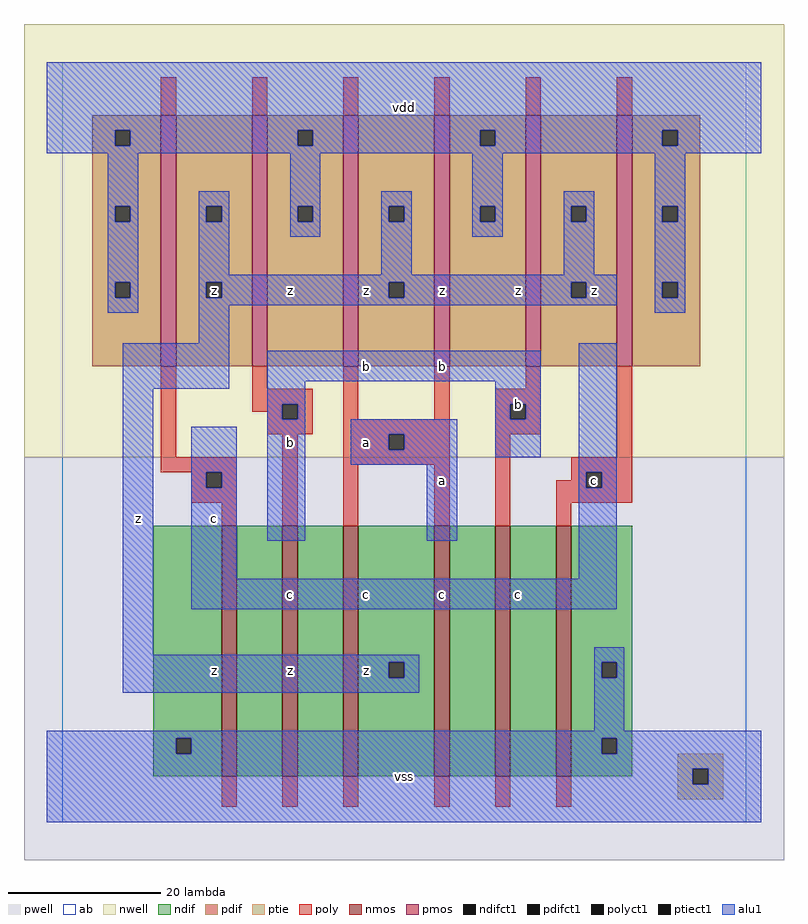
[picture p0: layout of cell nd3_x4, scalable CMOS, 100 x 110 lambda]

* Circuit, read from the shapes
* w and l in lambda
.subckt nd3_x4 a b c vdd vss z
M1 n1 c vss vss nfet w=33 l=2
M2 n2 b n1 vss nfet w=33 l=2
M3 z a n2 vss nfet w=33 l=2
M4 n3 a z vss nfet w=33 l=2
M5 n4 b n3 vss nfet w=33 l=2
M6 vss c n4 vss nfet w=33 l=2
M7 z c vdd n5 pfet w=33 l=2 m=2
M8 vdd b z n5 pfet w=33 l=2 m=2
M9 z a vdd n5 pfet w=33 l=2 m=2
.ends

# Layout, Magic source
magic
tech scmos
<< ab >>
rect 0 0 90 100
<< nwell >>
rect -5 48 95 105
<< pwell >>
rect -5 -5 95 48
<< poly >>
rect 13 93 15 98
rect 25 93 27 98
rect 37 93 39 98
rect 49 93 51 98
rect 61 93 63 98
rect 73 93 75 98
rect 13 48 15 60
rect 25 57 27 60
rect 25 55 33 57
rect 25 54 29 55
rect 27 53 29 54
rect 31 53 33 55
rect 27 51 33 53
rect 37 53 39 60
rect 49 53 51 60
rect 61 57 63 60
rect 37 51 51 53
rect 13 46 23 48
rect 17 44 19 46
rect 21 44 23 46
rect 17 42 23 44
rect 21 39 23 42
rect 29 39 31 51
rect 37 49 43 51
rect 45 49 51 51
rect 37 47 51 49
rect 37 39 39 47
rect 49 39 51 47
rect 57 55 63 57
rect 57 53 59 55
rect 61 53 63 55
rect 57 51 63 53
rect 57 39 59 51
rect 73 48 75 60
rect 67 46 75 48
rect 67 45 69 46
rect 65 44 69 45
rect 71 44 75 46
rect 65 42 75 44
rect 65 39 67 42
rect 21 2 23 6
rect 29 2 31 6
rect 37 2 39 6
rect 49 2 51 6
rect 57 2 59 6
rect 65 2 67 6
<< ndif >>
rect 12 11 21 39
rect 12 9 15 11
rect 17 9 21 11
rect 12 6 21 9
rect 23 6 29 39
rect 31 6 37 39
rect 39 21 49 39
rect 39 19 43 21
rect 45 19 49 21
rect 39 6 49 19
rect 51 6 57 39
rect 59 6 65 39
rect 67 21 75 39
rect 67 19 71 21
rect 73 19 75 21
rect 67 11 75 19
rect 67 9 71 11
rect 73 9 75 11
rect 67 6 75 9
<< pdif >>
rect 4 91 13 93
rect 4 89 7 91
rect 9 89 13 91
rect 4 81 13 89
rect 4 79 7 81
rect 9 79 13 81
rect 4 71 13 79
rect 4 69 7 71
rect 9 69 13 71
rect 4 60 13 69
rect 15 81 25 93
rect 15 79 19 81
rect 21 79 25 81
rect 15 71 25 79
rect 15 69 19 71
rect 21 69 25 71
rect 15 60 25 69
rect 27 91 37 93
rect 27 89 31 91
rect 33 89 37 91
rect 27 81 37 89
rect 27 79 31 81
rect 33 79 37 81
rect 27 60 37 79
rect 39 81 49 93
rect 39 79 43 81
rect 45 79 49 81
rect 39 71 49 79
rect 39 69 43 71
rect 45 69 49 71
rect 39 60 49 69
rect 51 91 61 93
rect 51 89 55 91
rect 57 89 61 91
rect 51 81 61 89
rect 51 79 55 81
rect 57 79 61 81
rect 51 60 61 79
rect 63 81 73 93
rect 63 79 67 81
rect 69 79 73 81
rect 63 71 73 79
rect 63 69 67 71
rect 69 69 73 71
rect 63 60 73 69
rect 75 91 84 93
rect 75 89 79 91
rect 81 89 84 91
rect 75 81 84 89
rect 75 79 79 81
rect 81 79 84 81
rect 75 71 84 79
rect 75 69 79 71
rect 81 69 84 71
rect 75 60 84 69
<< alu1 >>
rect -2 91 92 100
rect -2 89 7 91
rect 9 89 31 91
rect 33 89 55 91
rect 57 89 79 91
rect 81 89 92 91
rect -2 88 92 89
rect 6 81 10 88
rect 6 79 7 81
rect 9 79 10 81
rect 6 71 10 79
rect 6 69 7 71
rect 9 69 10 71
rect 6 67 10 69
rect 18 81 22 83
rect 18 79 19 81
rect 21 79 22 81
rect 18 72 22 79
rect 30 81 34 88
rect 30 79 31 81
rect 33 79 34 81
rect 30 77 34 79
rect 42 81 46 83
rect 42 79 43 81
rect 45 79 46 81
rect 42 72 46 79
rect 54 81 58 88
rect 54 79 55 81
rect 57 79 58 81
rect 54 77 58 79
rect 66 81 70 83
rect 66 79 67 81
rect 69 79 70 81
rect 66 72 70 79
rect 78 81 82 88
rect 78 79 79 81
rect 81 79 82 81
rect 18 71 73 72
rect 18 69 19 71
rect 21 69 43 71
rect 45 69 67 71
rect 69 69 73 71
rect 18 68 73 69
rect 78 71 82 79
rect 78 69 79 71
rect 81 69 82 71
rect 18 63 22 68
rect 78 67 82 69
rect 8 57 22 63
rect 27 58 63 62
rect 8 22 12 57
rect 27 55 32 58
rect 27 53 29 55
rect 31 53 32 55
rect 57 55 63 58
rect 57 53 59 55
rect 61 53 63 55
rect 17 46 23 52
rect 17 44 19 46
rect 21 44 23 46
rect 17 32 23 44
rect 27 37 32 53
rect 38 51 52 53
rect 38 49 43 51
rect 45 49 52 51
rect 38 47 52 49
rect 57 48 63 53
rect 48 37 52 47
rect 68 46 73 63
rect 68 44 69 46
rect 71 44 73 46
rect 68 32 73 44
rect 17 28 73 32
rect 8 21 47 22
rect 8 19 43 21
rect 45 19 47 21
rect 8 17 47 19
rect 70 21 74 23
rect 70 19 71 21
rect 73 19 74 21
rect 70 12 74 19
rect -2 11 92 12
rect -2 9 15 11
rect 17 9 71 11
rect 73 9 92 11
rect -2 7 92 9
rect -2 5 83 7
rect 85 5 92 7
rect -2 0 92 5
<< ptie >>
rect 81 7 87 9
rect 81 5 83 7
rect 85 5 87 7
rect 81 3 87 5
<< nmos >>
rect 21 6 23 39
rect 29 6 31 39
rect 37 6 39 39
rect 49 6 51 39
rect 57 6 59 39
rect 65 6 67 39
<< pmos >>
rect 13 60 15 93
rect 25 60 27 93
rect 37 60 39 93
rect 49 60 51 93
rect 61 60 63 93
rect 73 60 75 93
<< polyct1 >>
rect 29 53 31 55
rect 19 44 21 46
rect 43 49 45 51
rect 59 53 61 55
rect 69 44 71 46
<< ndifct1 >>
rect 15 9 17 11
rect 43 19 45 21
rect 71 19 73 21
rect 71 9 73 11
<< ptiect1 >>
rect 83 5 85 7
<< pdifct1 >>
rect 7 89 9 91
rect 7 79 9 81
rect 7 69 9 71
rect 19 79 21 81
rect 19 69 21 71
rect 31 89 33 91
rect 31 79 33 81
rect 43 79 45 81
rect 43 69 45 71
rect 55 89 57 91
rect 55 79 57 81
rect 67 79 69 81
rect 67 69 69 71
rect 79 89 81 91
rect 79 79 81 81
rect 79 69 81 71
<< labels >>
rlabel alu1 10 40 10 40 6 z
rlabel alu1 30 20 30 20 6 z
rlabel alu1 20 20 20 20 6 z
rlabel alu1 30 30 30 30 6 c
rlabel alu1 20 40 20 40 6 c
rlabel alu1 30 50 30 50 6 b
rlabel pdifct1 20 70 20 70 6 z
rlabel alu1 30 70 30 70 6 z
rlabel alu1 45 6 45 6 6 vss
rlabel alu1 40 20 40 20 6 z
rlabel alu1 40 30 40 30 6 c
rlabel alu1 50 30 50 30 6 c
rlabel alu1 40 50 40 50 6 a
rlabel alu1 50 45 50 45 6 a
rlabel alu1 40 60 40 60 6 b
rlabel alu1 50 60 50 60 6 b
rlabel alu1 40 70 40 70 6 z
rlabel alu1 50 70 50 70 6 z
rlabel alu1 45 94 45 94 6 vdd
rlabel alu1 60 30 60 30 6 c
rlabel polyct1 70 45 70 45 6 c
rlabel alu1 60 55 60 55 6 b
rlabel alu1 60 70 60 70 6 z
rlabel alu1 70 70 70 70 6 z
<< end >>
